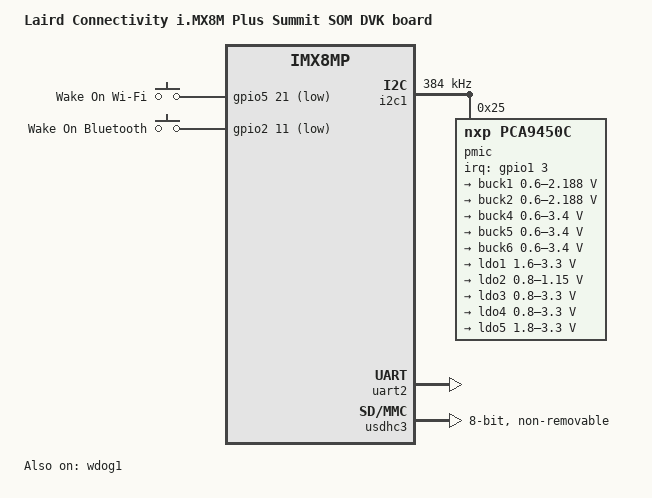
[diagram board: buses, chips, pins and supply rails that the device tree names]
// SPDX-License-Identifier: (GPL-2.0+ OR MIT)
/*
* Copyright 2021 Laird Connectivity
  */

/dts-v1/;

#include <dt-bindings/usb/pd.h>
#include <dt-bindings/net/ti-dp83867.h>
#include "imx8mp.dtsi"

/ {
	model = "Laird Connectivity i.MX8M Plus Summit SOM DVK board";
	compatible = "fsl,imx8mp-summitsom", "fsl,imx8mp";

	chosen {
		stdout-path = &uart2;
	};

 	reg_usdhc2_vmmc: regulator-usdhc2 {
		compatible = "regulator-fixed";
		status = "disabled";

		pinctrl-names = "default";
		pinctrl-0 = <&pinctrl_reg_usdhc2_vmmc>;

		regulator-name = "VSD_3V3";
		regulator-min-microvolt = <3300000>;
		regulator-max-microvolt = <3300000>;

		gpio = <&gpio2 19 GPIO_ACTIVE_HIGH>;
		enable-active-high;
	};

	radio_wake {
		compatible = "gpio-keys";
		pinctrl-names = "default";
		pinctrl-0 = <&pinctrl_radio_wake>;

		wifi_wake: wake_on_wifi {
			label = "Wake On Wi-Fi";
			gpios = <&gpio5 21 GPIO_ACTIVE_LOW>;
			linux,code = <KEY_WAKEUP>;
			wakeup-source;
		};

		wake_on_bt {
			label = "Wake On Bluetooth";
			gpios = <&gpio2 11 GPIO_ACTIVE_LOW>;
			linux,code = <KEY_WAKEUP>;
			wakeup-source;
		};
	};
};

&resmem {
	linux,cma {
		size = <0 0x4000000>;
		/delete-property/ alloc-ranges;
	};
};

&A53_0 {
	cpu-supply = <&buck2>;
};

&A53_1 {
	cpu-supply = <&buck2>;
};

&A53_2 {
	cpu-supply = <&buck2>;
};

&A53_3 {
	cpu-supply = <&buck2>;
};

&cpu_alert0 {
	temperature = <95000>;
};

&cpu_crit0 {
	temperature = <105000>;
};

&soc_alert0 {
	temperature = <95000>;
};

&soc_crit0 {
	temperature = <105000>;
};

&i2c1 {
	clock-frequency = <384000>;
	pinctrl-names = "default";
	pinctrl-0 = <&pinctrl_i2c1>;
	status = "okay";

	pmic: pca9450@25 {
		reg = <0x25>;
		compatible = "nxp,pca9450c";
		/* PMIC PCA9450 PMIC_nINT GPIO1_IO3 */
		pinctrl-0 = <&pinctrl_pmic>;
		interrupt-parent = <&gpio1>;
		interrupts = <3 GPIO_ACTIVE_LOW>;

		regulators {
			buck1: BUCK1 {
				regulator-name = "BUCK1";
				regulator-min-microvolt = <600000>;
				regulator-max-microvolt = <2187500>;
				regulator-boot-on;
				regulator-always-on;
				regulator-ramp-delay = <3125>;
			};

			buck2: BUCK2 {
				regulator-name = "BUCK2";
				regulator-min-microvolt = <600000>;
				regulator-max-microvolt = <2187500>;
				regulator-boot-on;
				regulator-always-on;
				regulator-ramp-delay = <3125>;
				nxp,dvs-run-voltage = <950000>;
				nxp,dvs-standby-voltage = <850000>;
			};

			buck4: BUCK4{
				regulator-name = "BUCK4";
				regulator-min-microvolt = <600000>;
				regulator-max-microvolt = <3400000>;
				regulator-boot-on;
				regulator-always-on;
			};

			buck5: BUCK5{
				regulator-name = "BUCK5";
				regulator-min-microvolt = <600000>;
				regulator-max-microvolt = <3400000>;
				regulator-boot-on;
				regulator-always-on;
			};

			buck6: BUCK6 {
				regulator-name = "BUCK6";
				regulator-min-microvolt = <600000>;
				regulator-max-microvolt = <3400000>;
				regulator-boot-on;
				regulator-always-on;
			};

			ldo1: LDO1 {
				regulator-name = "LDO1";
				regulator-min-microvolt = <1600000>;
				regulator-max-microvolt = <3300000>;
				regulator-boot-on;
				regulator-always-on;
			};

			ldo2: LDO2 {
				regulator-name = "LDO2";
				regulator-min-microvolt = <800000>;
				regulator-max-microvolt = <1150000>;
				regulator-boot-on;
				regulator-always-on;
			};

			ldo3: LDO3 {
				regulator-name = "LDO3";
				regulator-min-microvolt = <800000>;
				regulator-max-microvolt = <3300000>;
				regulator-boot-on;
				regulator-always-on;
			};

			ldo4: LDO4 {
				regulator-name = "LDO4";
				regulator-min-microvolt = <800000>;
				regulator-max-microvolt = <3300000>;
				regulator-boot-on;
				regulator-always-on;
			};

			ldo5: LDO5 {
				regulator-name = "LDO5";
				regulator-min-microvolt = <1800000>;
				regulator-max-microvolt = <3300000>;
				regulator-boot-on;
				regulator-always-on;
			};
		};
	};
};

&pcie {
	clocks = <&clk IMX8MP_CLK_HSIO_ROOT>,
		 <&clk IMX8MP_CLK_PCIE_AUX>,
		 <&clk IMX8MP_CLK_HSIO_AXI>,
		 <&clk IMX8MP_CLK_PCIE_ROOT>;
	clock-names = "pcie", "pcie_aux", "pcie_phy", "pcie_bus";
	assigned-clocks = <&clk IMX8MP_CLK_HSIO_AXI>,
			  <&clk IMX8MP_CLK_PCIE_AUX>;
	assigned-clock-rates = <500000000>, <10000000>;
	assigned-clock-parents = <&clk IMX8MP_SYS_PLL2_500M>,
				 <&clk IMX8MP_SYS_PLL2_50M>;
};

&pcie_phy {
	clocks = <&clk IMX8MP_CLK_PCIE_PHY>;
	assigned-clocks = <&clk IMX8MP_CLK_PCIE_PHY>;
	assigned-clock-parents = <&clk IMX8MP_CLK_24M>;
};

&uart1 {
	assigned-clocks = <&clk IMX8MP_CLK_UART1>;
	assigned-clock-parents = <&clk IMX8MP_SYS_PLL1_80M>;
};

&uart2 {
	/* console */
	pinctrl-names = "default";
	pinctrl-0 = <&pinctrl_uart2>;
	status = "okay";
};

&uart3 {
	/* BT */
	pinctrl-names = "default";
	pinctrl-0 = <&pinctrl_uart3>;
	assigned-clocks = <&clk IMX8MP_CLK_UART3>;
	assigned-clock-parents = <&clk IMX8MP_SYS_PLL1_80M>;
	uart-has-rtscts;
};

&usdhc1 {
	pinctrl-names = "default", "state_100mhz", "state_200mhz";
	pinctrl-0 = <&pinctrl_usdhc1>;
	pinctrl-1 = <&pinctrl_usdhc1_100mhz>;
	pinctrl-2 = <&pinctrl_usdhc1_200mhz>;
};

&usdhc2 {
	pinctrl-names = "default", "state_100mhz", "state_200mhz";
	pinctrl-0 = <&pinctrl_usdhc2>;
	pinctrl-1 = <&pinctrl_usdhc2_100mhz>;
	pinctrl-2 = <&pinctrl_usdhc2_200mhz>;
};

&usdhc3 {
	pinctrl-names = "default", "state_100mhz", "state_200mhz";

	pinctrl-0 = <&pinctrl_usdhc3>;
	pinctrl-1 = <&pinctrl_usdhc3_100mhz>;
	pinctrl-2 = <&pinctrl_usdhc3_200mhz>;

	assigned-clocks = <&clk IMX8MP_CLK_USDHC3>;
	assigned-clock-rates = <400000000>;

	bus-width = <8>;
	non-removable;

	status = "okay";
};

&wdog1 {
	pinctrl-names = "default";
	pinctrl-0 = <&pinctrl_wdog>;
	fsl,ext-reset-output;
	status = "okay";
};

&iomuxc {
	pinctrl_i2c1: i2c1grp {
		fsl,pins = <
			MX8MP_IOMUXC_I2C1_SCL__I2C1_SCL		0x400001c2
			MX8MP_IOMUXC_I2C1_SDA__I2C1_SDA		0x400001c2
		>;
	};

	pinctrl_pmic: pmicirq {
		fsl,pins = <
			MX8MP_IOMUXC_GPIO1_IO03__GPIO1_IO03	0x40
		>;
	};

	pinctrl_uart2: uart2grp {
		fsl,pins = <
			MX8MP_IOMUXC_UART2_RXD__UART2_DCE_RX	0x000001c0
			MX8MP_IOMUXC_UART2_TXD__UART2_DCE_TX	0x000000c0
		>;
	};

	pinctrl_uart3: uart3grp {
		fsl,pins = <
			MX8MP_IOMUXC_ECSPI1_SCLK__UART3_DCE_RX	0x000001c0
			MX8MP_IOMUXC_ECSPI1_MOSI__UART3_DCE_TX	0x000001c0
			MX8MP_IOMUXC_ECSPI1_SS0__UART3_DCE_RTS	0x000001c0
			MX8MP_IOMUXC_ECSPI1_MISO__UART3_DCE_CTS	0x000001c0
		>;
	};

	pinctrl_usdhc1: usdhc1grp {
		fsl,pins = <
			MX8MP_IOMUXC_SD1_CLK__USDHC1_CLK	0x180
			MX8MP_IOMUXC_SD1_CMD__USDHC1_CMD	0x1c0
			MX8MP_IOMUXC_SD1_DATA0__USDHC1_DATA0	0x1c0
			MX8MP_IOMUXC_SD1_DATA1__USDHC1_DATA1	0x1c0
			MX8MP_IOMUXC_SD1_DATA2__USDHC1_DATA2	0x1c0
			MX8MP_IOMUXC_SD1_DATA3__USDHC1_DATA3	0x1c0
		>;
	};

	pinctrl_usdhc1_100mhz: usdhc1grp-100mhz {
		fsl,pins = <
			MX8MP_IOMUXC_SD1_CLK__USDHC1_CLK	0x180
			MX8MP_IOMUXC_SD1_CMD__USDHC1_CMD	0x1c0
			MX8MP_IOMUXC_SD1_DATA0__USDHC1_DATA0	0x1c0
			MX8MP_IOMUXC_SD1_DATA1__USDHC1_DATA1	0x1c0
			MX8MP_IOMUXC_SD1_DATA2__USDHC1_DATA2	0x1c0
			MX8MP_IOMUXC_SD1_DATA3__USDHC1_DATA3	0x1c0
		>;
	};

	pinctrl_usdhc1_200mhz: usdhc1grp-200mhz {
		fsl,pins = <
			MX8MP_IOMUXC_SD1_CLK__USDHC1_CLK	0x184
			MX8MP_IOMUXC_SD1_CMD__USDHC1_CMD	0x1c4
			MX8MP_IOMUXC_SD1_DATA0__USDHC1_DATA0	0x1c4
			MX8MP_IOMUXC_SD1_DATA1__USDHC1_DATA1	0x1c4
			MX8MP_IOMUXC_SD1_DATA2__USDHC1_DATA2	0x1c4
			MX8MP_IOMUXC_SD1_DATA3__USDHC1_DATA3	0x1c4
		>;
	};

	pinctrl_usdhc2: usdhc2grp {
		fsl,pins = <
			MX8MP_IOMUXC_SD2_CLK__USDHC2_CLK	0x190
			MX8MP_IOMUXC_SD2_CMD__USDHC2_CMD	0x1d0
			MX8MP_IOMUXC_SD2_DATA0__USDHC2_DATA0	0x1d0
			MX8MP_IOMUXC_SD2_DATA1__USDHC2_DATA1	0x1d0
			MX8MP_IOMUXC_SD2_DATA2__USDHC2_DATA2	0x1d0
			MX8MP_IOMUXC_SD2_DATA3__USDHC2_DATA3	0x1d0
			MX8MP_IOMUXC_GPIO1_IO04__USDHC2_VSELECT	0xc0
		>;
	};

	pinctrl_usdhc2_100mhz: usdhc2-100mhzgrp {
		fsl,pins = <
			MX8MP_IOMUXC_SD2_CLK__USDHC2_CLK	0x194
			MX8MP_IOMUXC_SD2_CMD__USDHC2_CMD	0x1d4
			MX8MP_IOMUXC_SD2_DATA0__USDHC2_DATA0	0x1d4
			MX8MP_IOMUXC_SD2_DATA1__USDHC2_DATA1	0x1d4
			MX8MP_IOMUXC_SD2_DATA2__USDHC2_DATA2	0x1d4
			MX8MP_IOMUXC_SD2_DATA3__USDHC2_DATA3	0x1d4
			MX8MP_IOMUXC_GPIO1_IO04__USDHC2_VSELECT 0xc0
		>;
	};

	pinctrl_usdhc2_200mhz: usdhc2-200mhzgrp {
		fsl,pins = <
			MX8MP_IOMUXC_SD2_CLK__USDHC2_CLK	0x196
			MX8MP_IOMUXC_SD2_CMD__USDHC2_CMD	0x1d6
			MX8MP_IOMUXC_SD2_DATA0__USDHC2_DATA0	0x1d6
			MX8MP_IOMUXC_SD2_DATA1__USDHC2_DATA1	0x1d6
			MX8MP_IOMUXC_SD2_DATA2__USDHC2_DATA2	0x1d6
			MX8MP_IOMUXC_SD2_DATA3__USDHC2_DATA3	0x1d6
			MX8MP_IOMUXC_GPIO1_IO04__USDHC2_VSELECT 0xc0
		>;
	};

	pinctrl_usdhc3: usdhc3grp {
		fsl,pins = <
			MX8MP_IOMUXC_NAND_WE_B__USDHC3_CLK	0x190
			MX8MP_IOMUXC_NAND_WP_B__USDHC3_CMD	0x1d0
			MX8MP_IOMUXC_NAND_DATA04__USDHC3_DATA0	0x1d0
			MX8MP_IOMUXC_NAND_DATA05__USDHC3_DATA1	0x1d0
			MX8MP_IOMUXC_NAND_DATA06__USDHC3_DATA2	0x1d0
			MX8MP_IOMUXC_NAND_DATA07__USDHC3_DATA3	0x1d0
			MX8MP_IOMUXC_NAND_RE_B__USDHC3_DATA4	0x1d0
			MX8MP_IOMUXC_NAND_CE2_B__USDHC3_DATA5	0x1d0
			MX8MP_IOMUXC_NAND_CE3_B__USDHC3_DATA6	0x1d0
			MX8MP_IOMUXC_NAND_CLE__USDHC3_DATA7	0x1d0
			MX8MP_IOMUXC_NAND_CE1_B__USDHC3_STROBE	0x190
		>;
	};

	pinctrl_usdhc3_100mhz: usdhc3-100mhzgrp {
		fsl,pins = <
			MX8MP_IOMUXC_NAND_WE_B__USDHC3_CLK	0x194
			MX8MP_IOMUXC_NAND_WP_B__USDHC3_CMD	0x1d4
			MX8MP_IOMUXC_NAND_DATA04__USDHC3_DATA0	0x1d4
			MX8MP_IOMUXC_NAND_DATA05__USDHC3_DATA1	0x1d4
			MX8MP_IOMUXC_NAND_DATA06__USDHC3_DATA2	0x1d4
			MX8MP_IOMUXC_NAND_DATA07__USDHC3_DATA3	0x1d4
			MX8MP_IOMUXC_NAND_RE_B__USDHC3_DATA4	0x1d4
			MX8MP_IOMUXC_NAND_CE2_B__USDHC3_DATA5	0x1d4
			MX8MP_IOMUXC_NAND_CE3_B__USDHC3_DATA6	0x1d4
			MX8MP_IOMUXC_NAND_CLE__USDHC3_DATA7	0x1d4
			MX8MP_IOMUXC_NAND_CE1_B__USDHC3_STROBE	0x194
		>;
	};

	pinctrl_usdhc3_200mhz: usdhc3-200mhzgrp {
		fsl,pins = <
			MX8MP_IOMUXC_NAND_WE_B__USDHC3_CLK	0x196
			MX8MP_IOMUXC_NAND_WP_B__USDHC3_CMD	0x1d6
			MX8MP_IOMUXC_NAND_DATA04__USDHC3_DATA0	0x1d6
			MX8MP_IOMUXC_NAND_DATA05__USDHC3_DATA1	0x1d6
			MX8MP_IOMUXC_NAND_DATA06__USDHC3_DATA2	0x1d6
			MX8MP_IOMUXC_NAND_DATA07__USDHC3_DATA3	0x1d6
			MX8MP_IOMUXC_NAND_RE_B__USDHC3_DATA4	0x1d6
			MX8MP_IOMUXC_NAND_CE2_B__USDHC3_DATA5	0x1d6
			MX8MP_IOMUXC_NAND_CE3_B__USDHC3_DATA6	0x1d6
			MX8MP_IOMUXC_NAND_CLE__USDHC3_DATA7	0x1d6
			MX8MP_IOMUXC_NAND_CE1_B__USDHC3_STROBE	0x196
		>;
	};

	pinctrl_reg_usdhc2_vmmc: regusdhc2vmmcgrp {
		fsl,pins = <
			MX8MP_IOMUXC_SD2_RESET_B__GPIO2_IO19	0x40
		>;
	};

	pinctrl_wdog: wdoggrp {
		fsl,pins = <
			MX8MP_IOMUXC_GPIO1_IO02__WDOG1_WDOG_B	0xc6
		>;
	};

	pinctrl_wifibs: wifibsgrp {
		fsl,pins = <
			MX8MP_IOMUXC_SD1_DATA6__GPIO2_IO08         0x00000000
			MX8MP_IOMUXC_SD1_DATA7__GPIO2_IO09         0x00000000
		>;
	};

	pinctrl_wifi_pmu: wifipmugrp {
		fsl,pins = <
			MX8MP_IOMUXC_SD1_RESET_B__GPIO2_IO10       0x00000000
		>;
	};

	pinctrl_pcie_gpio: pciegpiogrp {
		fsl,pins = <
			MX8MP_IOMUXC_SD1_DATA4__GPIO2_IO06         0x00000000
			MX8MP_IOMUXC_SD1_DATA5__GPIO2_IO07         0x00000000
		>;
	};

	pinctrl_pcie_clkreq: pcieclkreqgrp {
		fsl,pins = <
			MX8MP_IOMUXC_I2C4_SCL__PCIE_CLKREQ_B       0x00000060 /* open drain, pull up */
		>;
	};

	pinctrl_radio_wake: pciewakegrp {
		fsl,pins = <
			MX8MP_IOMUXC_I2C4_SDA__GPIO5_IO21          0x000001C0
			MX8MP_IOMUXC_NAND_DQS__GPIO3_IO14          0x000001C0
			MX8MP_IOMUXC_SD1_STROBE__GPIO2_IO11        0x000001C0
		>;
	};
};
